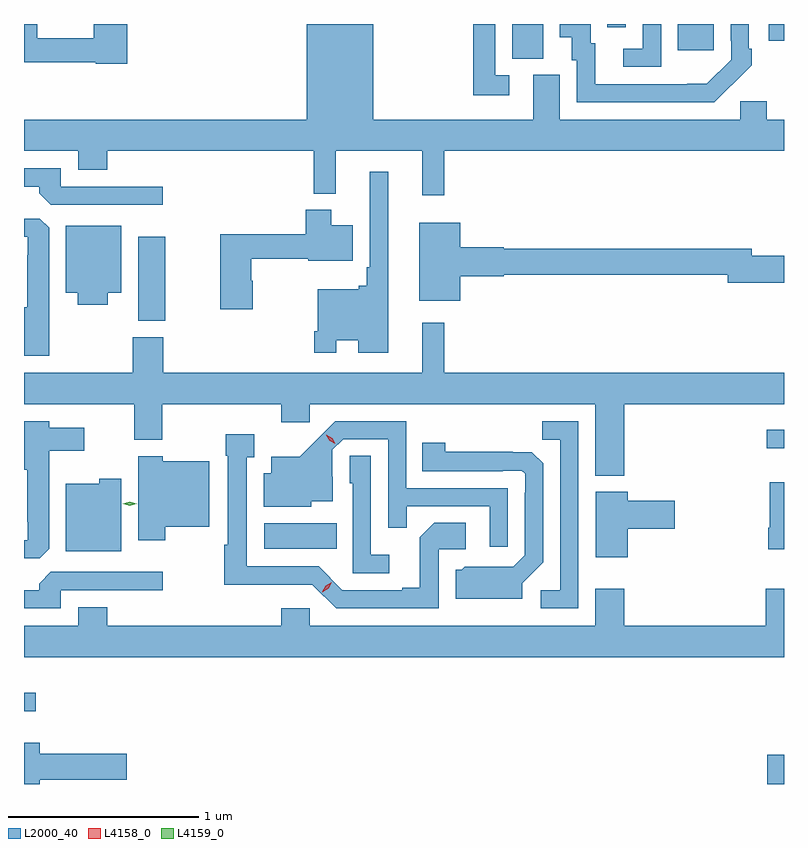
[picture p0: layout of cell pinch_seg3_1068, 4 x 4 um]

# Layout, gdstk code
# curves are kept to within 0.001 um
import gdstk
lib = gdstk.Library(unit=1e-6, precision=1e-09)
def R(c, l, rs):  # rectangles x0, y0, x1, y1
    for r in rs: c.add(gdstk.rectangle(r[:2], r[2:], *l))
def P(c, l, *ps):  # polygons
    for p in ps: c.add(gdstk.Polygon(p, *l))
L2000_40 = (2000, 40)
L4158_0 = (4158, 0)
L4159_0 = (4159, 0)

pinch_seg3_1068 = lib.new_cell('pinch_seg3_1068')
R(pinch_seg3_1068, L2000_40, [(327.392,669.612,327.479,669.766), (323.479,669.996,323.542,670.092), (324.744,670.85,325.124,670.984), (327.387,671.379,327.479,671.476), (324.08,672.049,324.222,672.493), (326.048,673.429,326.212,673.612), (326.921,673.473,327.109,673.612), (327.399,673.524,327.479,673.612), (326.55,673.596,326.646,673.612)])
P(pinch_seg3_1068, L2000_40, [(326.032,673.341),(325.959,673.341),(325.959,673.612),(325.843,673.612),(325.843,673.236),(326.032,673.236)],
  [(327.203,673.291),(327.204,673.29),(327.309,673.395),(327.309,673.483),(327.294,673.483),(327.294,673.612),(327.198,673.612),(327.198,673.525),(327.201,673.525),(327.201,673.425),(327.073,673.297),(326.969,673.296),(326.485,673.296),(326.485,673.512),(326.461,673.512),(326.461,673.612),(326.3,673.612),(326.3,673.541),(326.363,673.541),(326.363,673.422),(326.388,673.422),(326.388,673.2),(327.112,673.2)],
  [(324.023,673.612),(323.845,673.612),(323.845,673.538),(323.548,673.538),(323.548,673.612),(323.479,673.612),(323.479,673.41),(323.856,673.41),(323.856,673.402),(324.023,673.402)],
  [(326.832,673.612),(326.736,673.612),(326.736,673.482),(326.634,673.482),(326.634,673.386),(326.832,673.386)],
  [(325.691,672.944),(327.479,672.944),(327.479,673.108),(327.388,673.108),(327.388,673.206),(327.249,673.206),(327.249,673.108),(326.299,673.108),(326.299,673.344),(326.159,673.344),(326.159,673.108),(325.318,673.108),(325.318,673.612),(324.968,673.612),(324.968,673.108),(323.479,673.108),(323.479,672.944),(323.765,672.944),(323.765,672.845),(323.918,672.845),(323.918,672.944),(325.003,672.944),(325.003,672.719),(325.121,672.719),(325.121,672.944),(325.574,672.944),(325.574,672.711),(325.691,672.711)],
  [(324.208,672.756),(323.673,672.756),(323.673,672.852),(323.479,672.852),(323.479,672.756),(323.558,672.756),(323.558,672.722),(323.619,672.66),(324.208,672.66)],
  [(325.122,671.948),(325.238,671.948),(325.238,671.883),(325.396,671.883),(325.396,672.835),(325.299,672.835),(325.299,672.331),(325.283,672.331),(325.283,672.235),(325.242,672.235),(325.242,672.217),(325.026,672.217),(325.026,671.995),(325.006,671.995),(325.006,671.883),(325.122,671.883)],
  [(324.684,672.261),(324.676,672.261),(324.676,672.376),(324.974,672.376),(324.974,672.366),(325.209,672.366),(325.209,672.553),(325.096,672.553),(325.096,672.634),(324.962,672.634),(324.962,672.505),(324.511,672.505),(324.511,672.111),(324.684,672.111)],
  [(323.611,672.539),(323.562,672.588),(323.479,672.588),(323.479,672.492),(323.499,672.492),(323.499,672.395),(323.495,672.395),(323.495,672.121),(323.479,672.121),(323.479,671.867),(323.611,671.867)],
  [(325.774,672.284),(326.004,672.284),(326.004,672.292),(327.182,672.292),(327.182,672.25),(327.479,672.25),(327.479,672.392),(327.31,672.392),(327.31,672.428),(326.004,672.428),(326.004,672.436),(325.774,672.436),(325.774,672.565),(325.559,672.565),(325.559,672.155),(325.774,672.155)],
  [(323.92,672.197),(323.992,672.197),(323.992,672.55),(323.699,672.55),(323.699,672.197),(323.762,672.197),(323.762,672.134),(323.92,672.134)],
  [(326.639,671.612),(327.479,671.612),(327.479,671.776),(325.691,671.776),(325.691,672.04),(325.574,672.04),(325.574,671.776),(324.212,671.776),(324.212,671.964),(324.052,671.964),(324.052,671.776),(323.479,671.776),(323.479,671.612),(324.059,671.612),(324.059,671.423),(324.207,671.423),(324.207,671.612),(324.833,671.612),(324.833,671.517),(324.984,671.517),(324.984,671.612),(326.486,671.612),(326.486,671.234),(326.639,671.234)],
  [(323.611,670.849),(323.611,671.366),(323.797,671.366),(323.797,671.488),(323.611,671.488),(323.611,671.521),(323.479,671.521),(323.479,671.267),(323.495,671.267),(323.495,670.993),(323.499,670.993),(323.499,670.896),(323.479,670.896),(323.479,670.8),(323.562,670.8)],
  [(326.397,671.52),(326.206,671.52),(326.206,671.425),(326.301,671.425),(326.301,670.632),(326.199,670.632),(326.199,670.536),(326.397,670.536)],
  [(326.025,671.169),(325.491,671.169),(325.491,671.52),(325.118,671.52),(324.931,671.335),(324.779,671.335),(324.779,671.248),(324.74,671.248),(324.74,671.072),(324.99,671.072),(324.99,671.099),(325.105,671.099),(325.105,671.228),(325.101,671.228),(325.101,671.37),(325.158,671.427),(325.395,671.427),(325.395,670.96),(325.493,670.96),(325.493,671.073),(325.929,671.073),(325.929,670.86),(326.025,670.86)],
  [(325.662,670.848),(325.804,670.848),(325.804,670.988),(325.639,670.988),(325.563,670.912),(325.563,670.645),(325.469,670.645),(325.469,670.632),(325.155,670.632),(325.029,670.758),(324.652,670.758),(324.652,671.331),(324.691,671.331),(324.691,671.452),(324.541,671.452),(324.541,671.339),(324.551,671.339),(324.551,670.871),(324.534,670.871),(324.534,670.661),(324.996,670.662),(325.122,670.536),(325.662,670.536)],
  [(326.101,670.668),(326.211,670.778),(326.211,671.3),(326.152,671.359),(325.695,671.36),(325.695,671.407),(325.576,671.407),(325.576,671.259),(326,671.259),(326,671.262),(326.1,671.262),(326.118,671.244),(326.118,671.144),(326.115,671.144),(326.115,670.815),(326.055,670.755),(325.798,670.756),(325.782,670.74),(325.751,670.74),(325.751,670.586),(326.101,670.586)],
  [(325.402,670.819),(325.305,670.819),(325.305,671.339),(325.194,671.339),(325.194,671.196),(325.209,671.196),(325.209,670.722),(325.402,670.722)],
  [(324.222,670.967),(324.454,670.967),(324.454,671.311),(324.21,671.311),(324.21,671.338),(324.08,671.338),(324.08,670.896),(324.222,670.896)],
  [(323.992,671.218),(323.874,671.218),(323.874,671.191),(323.699,671.191),(323.699,670.838),(323.992,670.838)],
  [(327.479,671.2),(327.404,671.2),(327.404,670.96),(327.397,670.96),(327.397,670.848),(327.479,670.848)],
  [(326.656,670.955),(326.905,670.955),(326.905,671.102),(326.656,671.102),(326.656,671.149),(326.489,671.149),(326.489,670.806),(326.656,670.806)],
  [(323.673,670.632),(324.208,670.632),(324.208,670.728),(323.619,670.728),(323.558,670.666),(323.558,670.632),(323.479,670.632),(323.479,670.536),(323.673,670.536)],
  [(327.479,670.639),(327.383,670.639),(327.383,670.444),(326.639,670.444),(326.639,670.639),(326.486,670.639),(326.486,670.444),(324.984,670.444),(324.984,670.537),(324.833,670.537),(324.833,670.444),(323.918,670.444),(323.918,670.543),(323.765,670.543),(323.765,670.444),(323.479,670.444),(323.479,670.28),(327.479,670.28)],
  [(323.561,669.635),(324.019,669.635),(324.019,669.77),(323.561,669.77),(323.561,669.829),(323.479,669.829),(323.479,669.612),(323.561,669.612)])
P(pinch_seg3_1068, L4158_0, [(325.118,671.403),(325.087,671.419),(325.07,671.448),(325.07,671.449),(325.07,671.449),(325.101,671.433),(325.118,671.404),(325.118,671.403)],
  [(325.05,670.622),(325.05,670.623),(325.067,670.656),(325.099,670.675),(325.099,670.675),(325.099,670.674),(325.082,670.642),(325.05,670.622)])
P(pinch_seg3_1068, L4159_0, [(324.036,671.077),(323.999,671.086),(323.999,671.086),(323.999,671.086),(324.036,671.097),(324.072,671.088),(324.073,671.088),(324.072,671.088)])

lib.write_gds('pinch_seg3_1068.gds')
